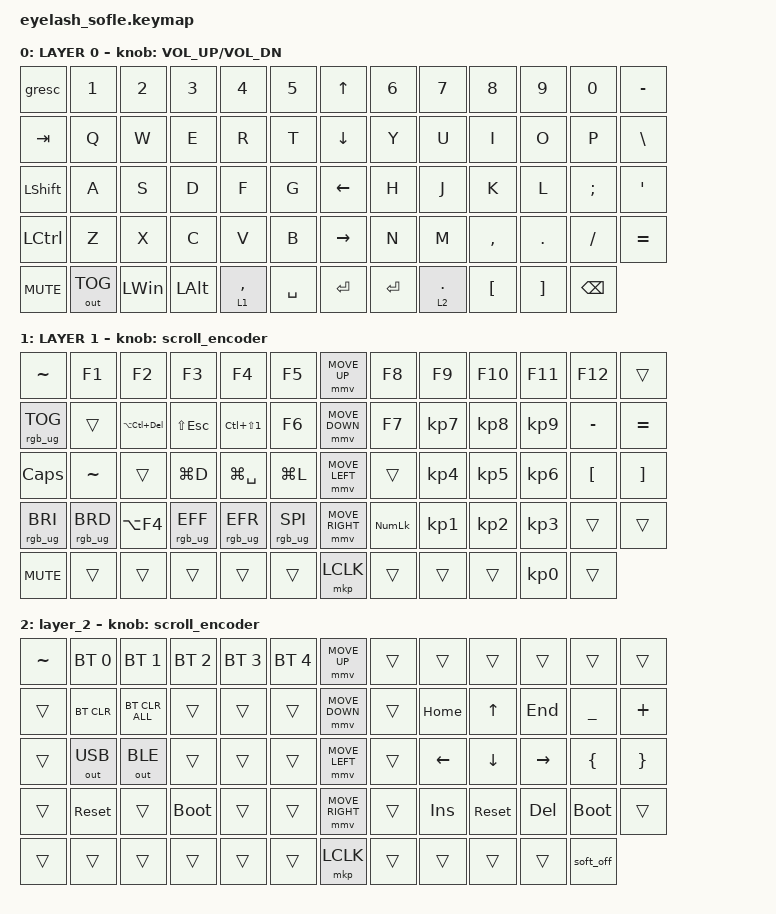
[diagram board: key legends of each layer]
#define ZMK_POINTING_DEFAULT_MOVE_VAL 1200  // 600
#define ZMK_POINTING_DEFAULT_SCRL_VAL 25   // 10

#include <input/processors.dtsi>
#include <zephyr/dt-bindings/input/input-event-codes.h>
#include <behaviors.dtsi>
#include <dt-bindings/zmk/bt.h>
#include <dt-bindings/zmk/keys.h>
#include <dt-bindings/zmk/outputs.h>
#include <dt-bindings/zmk/pointing.h>
#include <dt-bindings/zmk/rgb.h>

&mmv_input_listener { input-processors = <&zip_xy_scaler 2 1>; };

&msc_input_listener { input-processors = <&zip_scroll_scaler 2 1>; };

&msc {
    acceleration-exponent = <1>;      // 0
    time-to-max-speed-ms = <100>;       // 300
    delay-ms = <0>;                   // 0
};

&mmv {
    time-to-max-speed-ms = <500>;
    acceleration-exponent = <1>;
    trigger-period-ms = <16>;
};

/ {
    scroll_encoder: scroll_encoder {
        compatible = "zmk,behavior-sensor-rotate";
        #sensor-binding-cells = <0>;
        bindings = <&msc SCRL_DOWN>, <&msc SCRL_UP>;

        tap-ms = <100>;
    };

    behaviors {
    };

    keymap {
        compatible = "zmk,keymap";

        layer0 {
            bindings = <
&gresc          &kp N1        &kp N2    &kp N3        &kp N4       &kp N5       &kp UP_ARROW     &kp N6     &kp N7        &kp N8            &kp N9             &kp N0         &kp MINUS
&kp TAB         &kp Q         &kp W     &kp E         &kp R        &kp T        &kp DOWN_ARROW   &kp Y      &kp U         &kp I             &kp O              &kp P          &kp BSLH
&kp LEFT_SHIFT  &kp A         &kp S     &kp D         &kp F        &kp G        &kp LEFT_ARROW   &kp H      &kp J         &kp K             &kp L              &kp SEMI       &kp APOS
&kp LCTRL       &kp Z         &kp X     &kp C         &kp V        &kp B        &kp RIGHT_ARROW  &kp N      &kp M         &kp COMMA         &kp DOT            &kp FSLH       &kp EQUAL
&kp C_MUTE      &out OUT_TOG  &kp LWIN  &kp LEFT_ALT  &lt 1 COMMA  &kp SPACE    &kp ENTER        &kp ENTER  &lt 2 PERIOD  &kp LEFT_BRACKET  &kp RIGHT_BRACKET  &kp BACKSPACE
            >;

            sensor-bindings = <&inc_dec_kp C_VOLUME_UP C_VOL_DN>;
            display-name = "LAYER 0";
        };

        layer_1 {
            bindings = <
&kp TILDE        &kp F1           &kp F2           &kp F3           &kp F4                &kp F5             &mmv MOVE_UP     &kp F8          &kp F9           &kp F10          &kp F11          &kp F12           &trans
&rgb_ug RGB_TOG  &trans           &kp LA(LC(DEL))  &kp LS(ESCAPE)   &kp LC(LS(NUMBER_1))  &kp F6             &mmv MOVE_DOWN   &kp F7          &kp KP_NUMBER_7  &kp KP_NUMBER_8  &kp KP_NUMBER_9  &kp MINUS         &kp EQUAL
&kp CAPSLOCK     &kp TILDE        &trans           &kp LG(D)        &kp LG(SPACE)         &kp LG(L)          &mmv MOVE_LEFT   &trans          &kp KP_NUMBER_4  &kp KP_NUMBER_5  &kp KP_NUMBER_6  &kp LEFT_BRACKET  &kp RIGHT_BRACKET
&rgb_ug RGB_BRI  &rgb_ug RGB_BRD  &kp LA(F4)       &rgb_ug RGB_EFF  &rgb_ug RGB_EFR       &rgb_ug RGB_SPI    &mmv MOVE_RIGHT  &kp KP_NUMLOCK  &kp KP_NUMBER_1  &kp KP_NUMBER_2  &kp KP_NUMBER_3  &trans            &trans
&kp C_MUTE       &trans           &trans           &trans           &trans                &trans             &mkp LCLK        &trans          &trans           &trans           &kp KP_NUMBER_0  &trans
            >;

            display-name = "LAYER 1";
            sensor-bindings = <&scroll_encoder>;
        };

        layer_2 {
            bindings = <
&kp TILDE  &bt BT_SEL 0  &bt BT_SEL 1    &bt BT_SEL 2  &bt BT_SEL 3  &bt BT_SEL 4    &mmv MOVE_UP     &trans  &trans      &trans        &trans      &trans       &trans
&trans     &bt BT_CLR    &bt BT_CLR_ALL  &trans        &trans        &trans          &mmv MOVE_DOWN   &trans  &kp HOME    &kp UP_ARROW  &kp END     &kp UNDER    &kp PLUS
&trans     &out OUT_USB  &out OUT_BLE    &trans        &trans        &trans          &mmv MOVE_LEFT   &trans  &kp LEFT    &kp DOWN      &kp RIGHT   &kp LBRC     &kp RBRC
&trans     &sys_reset    &trans          &bootloader   &trans        &trans          &mmv MOVE_RIGHT  &trans  &kp INSERT  &sys_reset    &kp DELETE  &bootloader  &trans
&trans     &trans        &trans          &trans        &trans        &trans          &mkp LCLK        &trans  &trans      &trans        &trans      &soft_off
            >;

            sensor-bindings = <&scroll_encoder>;
        };
    };
};
